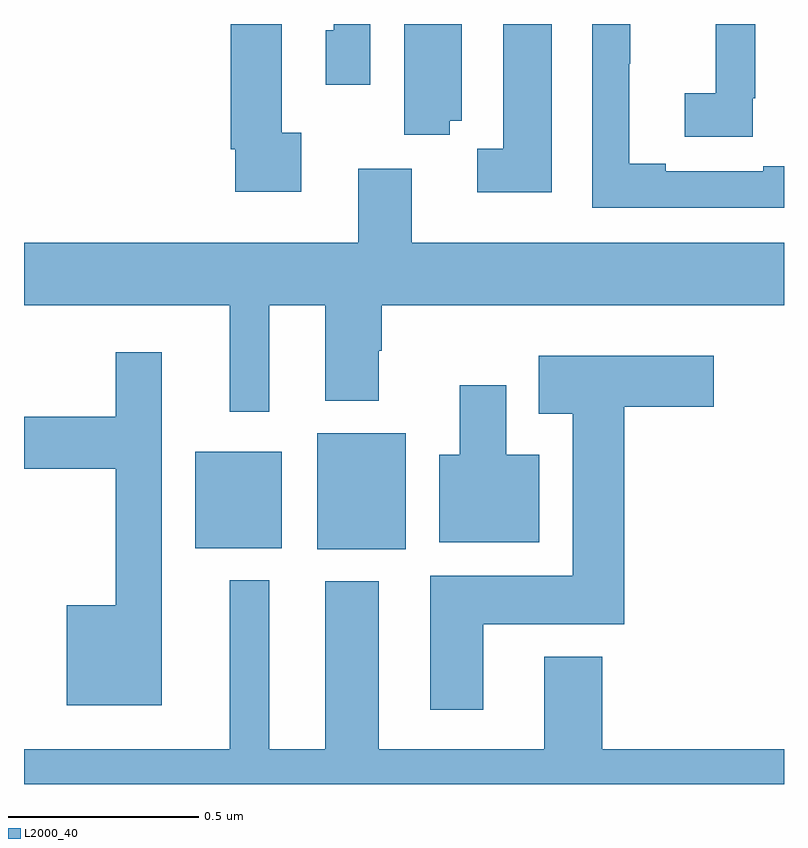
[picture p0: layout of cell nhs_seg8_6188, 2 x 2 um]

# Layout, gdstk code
import gdstk
lib = gdstk.Library(unit=1e-6, precision=1e-09)
def R(c, l, rs):  # rectangles x0, y0, x1, y1
    for r in rs: c.add(gdstk.rectangle(r[:2], r[2:], *l))
def P(c, l, *ps):  # polygons
    for p in ps: c.add(gdstk.Polygon(p, *l))
L2000_40 = (2000, 40)

nhs_seg8_6188 = lib.new_cell('nhs_seg8_6188')
R(nhs_seg8_6188, L2000_40, [(193.772,1122.518,194.005,1122.823), (193.451,1122.521,193.678,1122.775)])
P(nhs_seg8_6188, L2000_40, [(195,1123.526),(194.945,1123.526),(194.945,1123.512),(194.689,1123.512),(194.689,1123.532),(194.593,1123.532),(194.593,1123.795),(194.595,1123.795),(194.595,1123.9),(194.496,1123.9),(194.496,1123.416),(195,1123.416)],
  [(194.12,1123.646),(194.152,1123.646),(194.152,1123.9),(194,1123.9),(194,1123.609),(194.12,1123.609)],
  [(193.911,1123.9),(193.815,1123.9),(193.815,1123.884),(193.794,1123.884),(193.794,1123.74),(193.911,1123.74)],
  [(194.918,1123.705),(194.924,1123.705),(194.924,1123.9),(194.821,1123.9),(194.821,1123.718),(194.739,1123.718),(194.739,1123.603),(194.918,1123.603)],
  [(194.389,1123.9),(194.261,1123.9),(194.261,1123.572),(194.193,1123.572),(194.193,1123.457),(194.389,1123.457)],
  [(193.729,1123.614),(193.678,1123.614),(193.678,1123.9),(193.544,1123.9),(193.544,1123.57),(193.556,1123.57),(193.556,1123.458),(193.729,1123.458)],
  [(193.645,1123.16),(193.793,1123.16),(193.793,1122.908),(193.933,1122.908),(193.933,1123.04),(193.941,1123.04),(193.941,1123.16),(195,1123.16),(195,1123.324),(194.02,1123.324),(194.02,1123.519),(193.88,1123.519),(193.88,1123.324),(193,1123.324),(193,1123.16),(193.541,1123.16),(193.541,1122.879),(193.645,1122.879)],
  [(193.363,1123.036),(193.242,1123.036),(193.242,1122.867),(193,1122.867),(193,1122.73),(193.242,1122.73),(193.242,1122.37),(193.112,1122.37),(193.112,1122.107),(193.363,1122.107)],
  [(194.209,1122.32),(194.579,1122.32),(194.579,1122.893),(194.815,1122.893),(194.815,1123.027),(194.354,1123.027),(194.354,1122.875),(194.444,1122.875),(194.444,1122.448),(194.069,1122.448),(194.069,1122.096),(194.209,1122.096)],
  [(194.356,1122.766),(194.269,1122.766),(194.269,1122.949),(194.147,1122.949),(194.147,1122.766),(194.093,1122.766),(194.093,1122.536),(194.356,1122.536)],
  [(195,1121.992),(194.522,1121.992),(194.522,1122.235),(194.369,1122.235),(194.369,1121.992),(193.933,1121.992),(193.933,1122.433),(193.793,1122.433),(193.793,1121.992),(193.645,1121.992),(193.645,1122.436),(193.541,1122.436),(193.541,1121.992),(193,1121.992),(193,1121.9),(195,1121.9)])

lib.write_gds('nhs_seg8_6188.gds')
